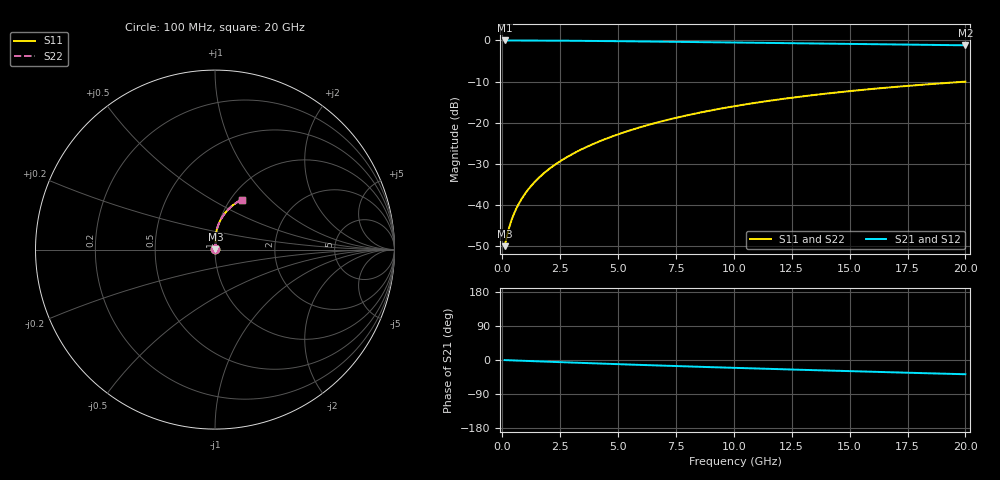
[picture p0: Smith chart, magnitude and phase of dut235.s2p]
! Touchstone file exported from HFSS 2024.1.0
!  File:  C:/UserFiles/LocalFiles/RDL_TSV_Batchsim/temp_RDL_top_235_1778688310.aedt
!  Generated:  12:07:24 AM May 14, 2026
!  Design:  RDL_top
!  Project:  temp_RDL_top_235_1778688310
!  Setup:  Setup1
!  Solution:  Sweep
! Variables:
!  dtsv = 10.80580581um
!  hbump = 3um
!  htsv = 71.67um
!  ldown = 100um
!  lrdl = 542.22um
!  p = 40
!  p1 = 49.59um
!  rhole = 1um
!  t = 450um
!  tdown = 3.915915916um
!  trdl = 3um
!  wdown = 15.38538539um
!  wrdl = 25.67um
# GHz S MA R 50.000000
! Terminal data exported
! Port[1] = Box2_T1
! Port[2] = Box2_T2
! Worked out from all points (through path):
!   200 points, 100 MHz to 20 GHz, reference 50 ohm
!   highest |S21| = -0.02 dB at 100 MHz (marker M1); lowest = -1.2 dB at 20 GHz (marker M2)
!   group delay of S21, straight-line fit = 5.16 ps
!   lowest |S11| = -50.0 dB at 100 MHz (marker M3), VSWR 1.01, Z = 50.3 + j0.156 ohm
!   |S11| at or under -10 dB: start of sweep to end of sweep
!   |S22| runs from -50.0 to -10.0 dB; largest |S21 - S12| = 2e-15
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0.1  0.003168 29.3  0.9972 -0.2  0.9972 -0.2  0.003168 29.3
! Gamma 0 0 0 0
! Port Impedance 50 0 50 0
0.2  0.004196 46.2  0.9971 -0.5  0.9971 -0.5  0.004196 46.2
0.3  0.005376 55.3  0.9968 -0.7  0.9968 -0.7  0.005376 55.3
0.4  0.006576 61.0  0.9966 -0.9  0.9966 -0.9  0.006576 61.0
0.5  0.007778 65.0  0.9964 -1.2  0.9964 -1.2  0.007778 65.0
0.6  0.008986 68.1  0.9962 -1.4  0.9962 -1.4  0.008986 68.1
0.8  0.01143 72.7  0.9959 -1.9  0.9959 -1.9  0.01143 72.7
1  0.01394 75.8  0.9955 -2.3  0.9955 -2.3  0.01394 75.8
1.2  0.01649 78.2  0.995 -2.8  0.995 -2.8  0.01649 78.2
1.7  0.02305 82.0  0.9937 -3.9  0.9937 -3.9  0.02305 82.0
2.2  0.02986 84.2  0.992 -5.0  0.992 -5.0  0.02986 84.2
2.8  0.03834 85.8  0.9895 -6.3  0.9895 -6.3  0.03834 85.8
3.5  0.04867 86.9  0.9861 -7.9  0.9861 -7.9  0.04866 86.8
4.2  0.05944 87.3  0.9821 -9.3  0.9821 -9.3  0.05942 87.2
5  0.07223 87.2  0.9772 -11.0  0.9772 -11.0  0.07221 87.1
6.8  0.1025 85.6  0.9649 -14.6  0.9649 -14.6  0.1024 85.6
8.4  0.1303 83.3  0.9534 -17.7  0.9534 -17.7  0.1302 83.2
10.1  0.16 80.3  0.9411 -20.9  0.9411 -20.9  0.1599 80.3
11.7  0.1876 77.3  0.9295 -23.7  0.9295 -23.7  0.1874 77.3
13.4  0.216 74.1  0.9173 -26.7  0.9173 -26.7  0.2159 74.0
16.7  0.2681 67.9  0.8939 -32.3  0.8939 -32.3  0.2679 67.8
20  0.3152 62.0  0.8709 -37.6  0.8709 -37.6  0.3149 61.9
